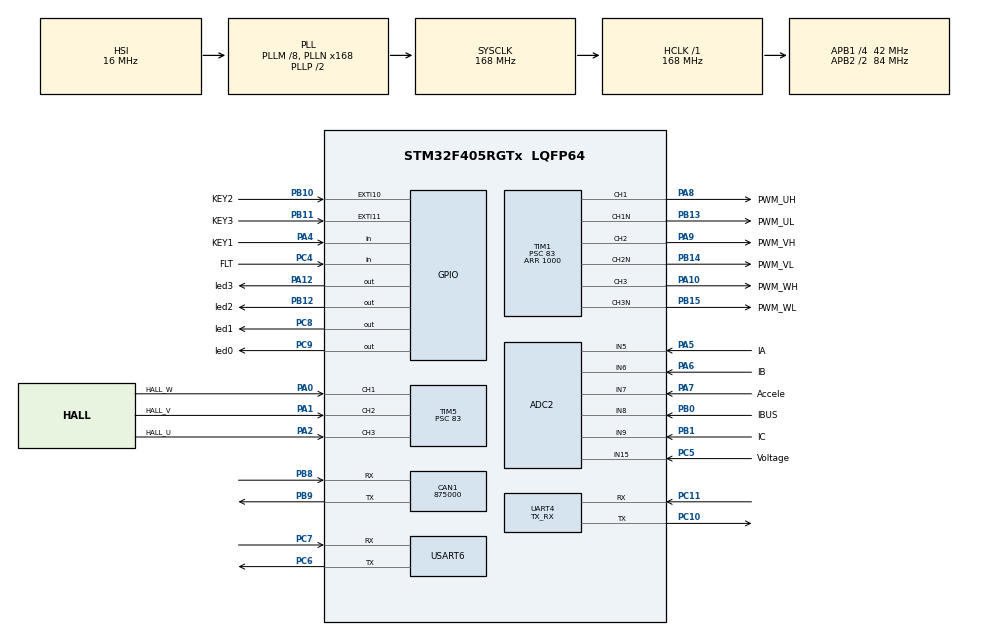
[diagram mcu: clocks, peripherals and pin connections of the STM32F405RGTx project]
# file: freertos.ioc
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ADC2.Channel-0\#ChannelRegularConversion=ADC_CHANNEL_7
ADC2.Channel-1\#ChannelRegularConversion=ADC_CHANNEL_15
ADC2.Channel-2\#ChannelRegularConversion=ADC_CHANNEL_5
ADC2.Channel-3\#ChannelRegularConversion=ADC_CHANNEL_6
ADC2.Channel-4\#ChannelRegularConversion=ADC_CHANNEL_9
ADC2.Channel-5\#ChannelRegularConversion=ADC_CHANNEL_8
ADC2.ContinuousConvMode=ENABLE
ADC2.DMAContinuousRequests=ENABLE
ADC2.EOCSelection=ADC_EOC_SEQ_CONV
ADC2.NbrOfConversion=6
ADC2.NbrOfConversionFlag=1
ADC2.Rank-0\#ChannelRegularConversion=1
ADC2.Rank-1\#ChannelRegularConversion=2
ADC2.Rank-2\#ChannelRegularConversion=3
ADC2.Rank-3\#ChannelRegularConversion=4
ADC2.Rank-4\#ChannelRegularConversion=5
ADC2.Rank-5\#ChannelRegularConversion=6
ADC2.SamplingTime-0\#ChannelRegularConversion=ADC_SAMPLETIME_15CYCLES
ADC2.SamplingTime-1\#ChannelRegularConversion=ADC_SAMPLETIME_15CYCLES
ADC2.SamplingTime-2\#ChannelRegularConversion=ADC_SAMPLETIME_15CYCLES
ADC2.SamplingTime-3\#ChannelRegularConversion=ADC_SAMPLETIME_15CYCLES
ADC2.SamplingTime-4\#ChannelRegularConversion=ADC_SAMPLETIME_15CYCLES
ADC2.SamplingTime-5\#ChannelRegularConversion=ADC_SAMPLETIME_15CYCLES
ADC2.ScanConvMode=ENABLE
CAN1.CalculateBaudRate=875000
CAN1.CalculateTimeBit=1142
CAN1.CalculateTimeQuantum=380.95238095238096
Dma.ADC2.1.Direction=DMA_PERIPH_TO_MEMORY
Dma.ADC2.1.FIFOMode=DMA_FIFOMODE_DISABLE
Dma.ADC2.1.Instance=DMA2_Stream2
Dma.ADC2.1.MemDataAlignment=DMA_MDATAALIGN_HALFWORD
Dma.ADC2.1.MemInc=DMA_MINC_ENABLE
Dma.ADC2.1.Mode=DMA_CIRCULAR
Dma.ADC2.1.PeriphDataAlignment=DMA_PDATAALIGN_HALFWORD
Dma.ADC2.1.PeriphInc=DMA_PINC_DISABLE
Dma.ADC2.1.Priority=DMA_PRIORITY_LOW
Dma.Request0=UART4_RX
Dma.Request1=ADC2
Dma.UART4_RX.0.Direction=DMA_PERIPH_TO_MEMORY
Dma.UART4_RX.0.FIFOMode=DMA_FIFOMODE_DISABLE
Dma.UART4_RX.0.Instance=DMA1_Stream2
Dma.UART4_RX.0.MemDataAlignment=DMA_MDATAALIGN_BYTE
Dma.UART4_RX.0.MemInc=DMA_MINC_ENABLE
Dma.UART4_RX.0.Mode=DMA_NORMAL
Dma.UART4_RX.0.PeriphDataAlignment=DMA_PDATAALIGN_BYTE
Dma.UART4_RX.0.PeriphInc=DMA_PINC_DISABLE
Dma.UART4_RX.0.Priority=DMA_PRIORITY_LOW
FREERTOS.BinarySemaphores01=UartDMABinarySem01,Dynamic,NULL
FREERTOS.MEMORY_ALLOCATION=2
FREERTOS.Queues01=TestQueue,4,uint32_t,0,Dynamic,NULL,NULL
FREERTOS.Tasks01=defaultTask,0,1280,StartDefaultTask,Default,NULL,Dynamic,NULL,NULL;myled0,0,128,myled0_task,Default,NULL,Dynamic,NULL,NULL;myled1,0,128,myled1_task,Default,NULL,Dynamic,NULL,NULL;myTask04,0,128,StartTask04,Default,NULL,Dynamic,NULL,NULL
FREERTOS.configENABLE_FPU=1
FREERTOS.configGENERATE_RUN_TIME_STATS=1
FREERTOS.configMAX_PRIORITIES=20
FREERTOS.configMAX_TASK_NAME_LEN=31
FREERTOS.configMINIMAL_STACK_SIZE=128
FREERTOS.configRECORD_STACK_HIGH_ADDRESS=1
FREERTOS.configTOTAL_HEAP_SIZE=10240
FREERTOS.configUSE_NEWLIB_REENTRANT=1
FREERTOS.configUSE_TIMERS=1
FREERTOS.configUSE_TRACE_FACILITY=1
Mcu.Family=STM32F4
Mcu.Name=STM32F405RGTx
Mcu.Package=LQFP64
NVIC.ADC_IRQn=true\:5\:0\:true\:false\:true\:true\:true\:true\:true
NVIC.DMA1_Stream2_IRQn=true\:5\:0\:false\:false\:true\:true\:false\:true\:true
NVIC.DMA2_Stream2_IRQn=true\:5\:0\:false\:false\:true\:true\:false\:true\:true
NVIC.EXTI15_10_IRQn=true\:5\:0\:true\:false\:true\:false\:true\:true\:true
NVIC.PriorityGroup=NVIC_PRIORITYGROUP_4
NVIC.TIM2_IRQn=true\:15\:0\:true\:false\:true\:false\:false\:true\:true
NVIC.TIM5_IRQn=true\:6\:0\:true\:false\:true\:false\:true\:true\:true
NVIC.TimeBase=TIM2_IRQn
NVIC.TimeBaseIP=TIM2
NVIC.UART4_IRQn=true\:5\:0\:false\:false\:true\:true\:true\:true\:true
NVIC.USART6_IRQn=true\:5\:0\:false\:false\:true\:true\:true\:true\:true
PA0-WKUP.GPIO_Label=HALL_W
PA0-WKUP.Signal=S_TIM5_CH1
PA1.GPIO_Label=HALL_V
PA1.Signal=S_TIM5_CH2
PA10.GPIO_Label=PWM_WH
PA10.Signal=S_TIM1_CH3
PA12.GPIO_Label=led3
PA12.Signal=GPIO_Output
PA13.Mode=Serial_Wire
PA13.Signal=SYS_JTMS-SWDIO
PA14.Mode=Serial_Wire
PA14.Signal=SYS_JTCK-SWCLK
PA2.GPIO_Label=HALL_U
PA2.Signal=S_TIM5_CH3
PA4.GPIO_Label=KEY1
PA4.Signal=GPIO_Input
PA5.GPIO_Label=IA
PA5.Signal=ADCx_IN5
PA6.GPIO_Label=IB
PA6.Signal=ADCx_IN6
PA7.GPIO_Label=Accele
PA7.Signal=ADCx_IN7
PA8.GPIO_Label=PWM_UH
PA8.Signal=S_TIM1_CH1
PA9.GPIO_Label=PWM_VH
PA9.Signal=S_TIM1_CH2
PB0.GPIO_Label=IBUS
PB0.Signal=ADCx_IN8
PB1.GPIO_Label=IC
PB1.Signal=ADCx_IN9
PB10.GPIO_Label=KEY2
PB10.GPIO_ModeDefaultEXTI=GPIO_MODE_IT_FALLING
PB10.GPIO_PuPd=GPIO_PULLUP
PB10.Signal=GPXTI10
PB11.GPIO_Label=KEY3
PB11.GPIO_ModeDefaultEXTI=GPIO_MODE_IT_FALLING
PB11.GPIO_PuPd=GPIO_PULLUP
PB11.Signal=GPXTI11
PB12.GPIO_Label=led2
PB12.Signal=GPIO_Output
PB13.GPIO_Label=PWM_UL
PB13.Mode=PWM Generation1 CH1 CH1N
PB13.Signal=TIM1_CH1N
PB14.GPIO_Label=PWM_VL
PB14.Mode=PWM Generation2 CH2 CH2N
PB14.Signal=TIM1_CH2N
PB15.GPIO_Label=PWM_WL
PB15.Mode=PWM Generation3 CH3 CH3N
PB15.Signal=TIM1_CH3N
PB8.Mode=CAN_Activate
PB8.Signal=CAN1_RX
PB9.Mode=CAN_Activate
PB9.Signal=CAN1_TX
PC10.Mode=Asynchronous
PC10.Signal=UART4_TX
PC11.Mode=Asynchronous
PC11.Signal=UART4_RX
PC14-OSC32_IN.Mode=LSE-External-Oscillator
PC14-OSC32_IN.Signal=RCC_OSC32_IN
PC15-OSC32_OUT.Mode=LSE-External-Oscillator
PC15-OSC32_OUT.Signal=RCC_OSC32_OUT
PC4.GPIO_Label=FLT
PC4.Signal=GPIO_Input
PC5.GPIO_Label=Voltage
PC5.Signal=ADCx_IN15
PC6.Mode=Asynchronous
PC6.Signal=USART6_TX
PC7.Mode=Asynchronous
PC7.Signal=USART6_RX
PC8.GPIO_Label=led1
PC8.Signal=GPIO_Output
PC9.GPIO_Label=led0
PC9.Signal=GPIO_Output
PH0-OSC_IN.Mode=HSE-External-Oscillator
PH0-OSC_IN.Signal=RCC_OSC_IN
PH1-OSC_OUT.Mode=HSE-External-Oscillator
PH1-OSC_OUT.Signal=RCC_OSC_OUT
ProjectManager.HeapSize=0x200
ProjectManager.StackSize=0x400
ProjectManager.TargetToolchain=STM32CubeIDE
RCC.48MHZClocksFreq_Value=84000000
RCC.AHBFreq_Value=168000000
RCC.APB1CLKDivider=RCC_HCLK_DIV4
RCC.APB1Freq_Value=42000000
RCC.APB1TimFreq_Value=84000000
RCC.APB2CLKDivider=RCC_HCLK_DIV2
RCC.APB2Freq_Value=84000000
RCC.APB2TimFreq_Value=168000000
RCC.CortexFreq_Value=168000000
RCC.HCLKFreq_Value=168000000
RCC.HSE_VALUE=8000000
RCC.HSI_VALUE=16000000
RCC.PLLM=8
RCC.PLLN=168
RCC.SYSCLKFreq_VALUE=168000000
RCC.SYSCLKSource=RCC_SYSCLKSOURCE_PLLCLK
RCC.VCOOutputFreq_Value=336000000
SH.ADCx_IN15.0=ADC2_IN15,IN15
SH.ADCx_IN5.0=ADC2_IN5,IN5
SH.ADCx_IN6.0=ADC2_IN6,IN6
SH.ADCx_IN7.0=ADC2_IN7,IN7
SH.ADCx_IN8.0=ADC2_IN8,IN8
SH.ADCx_IN9.0=ADC2_IN9,IN9
SH.S_TIM1_CH1.0=TIM1_CH1,PWM Generation1 CH1 CH1N
SH.S_TIM1_CH2.0=TIM1_CH2,PWM Generation2 CH2 CH2N
SH.S_TIM1_CH3.0=TIM1_CH3,PWM Generation3 CH3 CH3N
SH.S_TIM5_CH1.0=TIM5_CH1,Xored_Inputs_Hall_Sensor_Interface
SH.S_TIM5_CH2.0=TIM5_CH2,Xored_Inputs_Hall_Sensor_Interface
SH.S_TIM5_CH3.0=TIM5_CH3,Xored_Inputs_Hall_Sensor_Interface
TIM1.AutoReloadPreload=TIM_AUTORELOAD_PRELOAD_ENABLE
TIM1.AutomaticOutput=TIM_AUTOMATICOUTPUT_ENABLE
TIM1.BreakPolarity=TIM_BREAKPOLARITY_HIGH
TIM1.BreakState=TIM_BREAK_ENABLE
TIM1.Channel-PWM\ Generation1\ CH1\ CH1N=TIM_CHANNEL_1
TIM1.Channel-PWM\ Generation2\ CH2\ CH2N=TIM_CHANNEL_2
TIM1.Channel-PWM\ Generation3\ CH3\ CH3N=TIM_CHANNEL_3
TIM1.CounterMode=TIM_COUNTERMODE_UP
TIM1.DeadTime=150
TIM1.LockLevel=TIM_LOCKLEVEL_OFF
TIM1.OCFastMode_PWM-PWM\ Generation1\ CH1\ CH1N=TIM_OCFAST_ENABLE
TIM1.OCFastMode_PWM-PWM\ Generation2\ CH2\ CH2N=TIM_OCFAST_ENABLE
TIM1.OCFastMode_PWM-PWM\ Generation3\ CH3\ CH3N=TIM_OCFAST_ENABLE
TIM1.OCIdleState_1=TIM_OCIDLESTATE_RESET
TIM1.OffStateIDLEMode=TIM_OSSI_DISABLE
TIM1.OffStateRunMode=TIM_OSSR_DISABLE
TIM1.Period=1000
TIM1.Prescaler=83
TIM1.Pulse-PWM\ Generation1\ CH1\ CH1N=800
TIM1.Pulse-PWM\ Generation2\ CH2\ CH2N=800
TIM1.Pulse-PWM\ Generation3\ CH3\ CH3N=800
TIM5.AutoReloadPreload=TIM_AUTORELOAD_PRELOAD_ENABLE
TIM5.Prescaler=83
UART4.Mode=MODE_TX_RX
UART4.VirtualMode=Asynchronous
USART6.VirtualMode=VM_ASYNC
VP_FREERTOS_VS_CMSIS_V1.Mode=CMSIS_V1
VP_SYS_VS_tim2.Mode=TIM2
VP_TIM1_VS_ClockSourceINT.Mode=Internal
VP_TIM5_VS_ClockSourceINT.Mode=Internal
board=custom

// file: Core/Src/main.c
/* USER CODE BEGIN Header */
/**
  ******************************************************************************
  * @file           : main.c
  * @brief          : Main program body
  ******************************************************************************
  * @attention
  *
  * Copyright (c) 2022 STMicroelectronics.
  * All rights reserved.
  *
  * This software is licensed under terms that can be found in the LICENSE file
  * in the root directory of this software component.
  * If no LICENSE file comes with this software, it is provided AS-IS.
  *
  ******************************************************************************
  */
/* USER CODE END Header */
#include "main.h"
#include "cmsis_os.h"
#include "adc.h"
#include "can.h"
#include "dma.h"
#include "tim.h"
#include "usart.h"
#include "gpio.h"

/* USER CODE BEGIN PV */
extern osMessageQId TestQueueHandle;
extern __IO uint16_t ADC_ConvertedValue[6];

/* USER CODE END PV */

void SystemClock_Config(void);
void MX_FREERTOS_Init(void);

int main(void)
{

  /* MCU Configuration--------------------------------------------------------*/

  /* Reset of all peripherals, Initializes the Flash interface and the Systick. */
  HAL_Init();

  /* Configure the system clock */
  SystemClock_Config();

  /* Initialize all configured peripherals */
  MX_GPIO_Init();
  MX_DMA_Init();
  MX_CAN1_Init();
  MX_TIM5_Init();
  MX_UART4_Init();
  MX_ADC2_Init();
  MX_TIM1_Init();
  MX_USART6_UART_Init();
  /* USER CODE BEGIN 2 */
  printf("FreeRtos测试例程\r\n");
  HAL_ADC_Start_DMA(&hadc2,(uint32_t *)ADC_ConvertedValue,6);
  HAL_TIMEx_HallSensor_Start_IT(&htim5);
//  HAL_TIM_PWM_Start(&htim1,TIM_CHANNEL_1);
//  HAL_TIMEx_PWMN_Start(&htim1,TIM_CHANNEL_1);
//  HAL_TIM_PWM_Start(&htim1,TIM_CHANNEL_2);
//  HAL_TIMEx_PWMN_Start(&htim1,TIM_CHANNEL_2);
//  HAL_TIM_PWM_Start(&htim1,TIM_CHANNEL_3);
//  HAL_TIMEx_PWMN_Start(&htim1,TIM_CHANNEL_3);
  /* USER CODE END 2 */

  /* Call init function for freertos objects (in freertos.c) */
  MX_FREERTOS_Init();

  /* Start scheduler */
  osKernelStart();

  /* We should never get here as control is now taken by the scheduler */
  /* Infinite loop */
  while (1)
  {

  }
}

void SystemClock_Config(void)
{
  RCC_OscInitTypeDef RCC_OscInitStruct = {0};
  RCC_ClkInitTypeDef RCC_ClkInitStruct = {0};

  /** Configure the main internal regulator output voltage
  */
  __HAL_RCC_PWR_CLK_ENABLE();
  __HAL_PWR_VOLTAGESCALING_CONFIG(PWR_REGULATOR_VOLTAGE_SCALE1);

  /** Initializes the RCC Oscillators according to the specified parameters
  * in the RCC_OscInitTypeDef structure.
  */
  RCC_OscInitStruct.OscillatorType = RCC_OSCILLATORTYPE_HSI;
  RCC_OscInitStruct.HSIState = RCC_HSI_ON;
  RCC_OscInitStruct.HSICalibrationValue = RCC_HSICALIBRATION_DEFAULT;
  RCC_OscInitStruct.PLL.PLLState = RCC_PLL_ON;
  RCC_OscInitStruct.PLL.PLLSource = RCC_PLLSOURCE_HSI;
  RCC_OscInitStruct.PLL.PLLM = 8;
  RCC_OscInitStruct.PLL.PLLN = 168;
  RCC_OscInitStruct.PLL.PLLP = RCC_PLLP_DIV2;
  RCC_OscInitStruct.PLL.PLLQ = 4;
  if (HAL_RCC_OscConfig(&RCC_OscInitStruct) != HAL_OK)
  {
    Error_Handler();
  }

  /** Initializes the CPU, AHB and APB buses clocks
  */
  RCC_ClkInitStruct.ClockType = RCC_CLOCKTYPE_HCLK|RCC_CLOCKTYPE_SYSCLK
                              |RCC_CLOCKTYPE_PCLK1|RCC_CLOCKTYPE_PCLK2;
  RCC_ClkInitStruct.SYSCLKSource = RCC_SYSCLKSOURCE_PLLCLK;
  RCC_ClkInitStruct.AHBCLKDivider = RCC_SYSCLK_DIV1;
  RCC_ClkInitStruct.APB1CLKDivider = RCC_HCLK_DIV4;
  RCC_ClkInitStruct.APB2CLKDivider = RCC_HCLK_DIV2;

  if (HAL_RCC_ClockConfig(&RCC_ClkInitStruct, FLASH_LATENCY_5) != HAL_OK)
  {
    Error_Handler();
  }
}

void HAL_TIM_PeriodElapsedCallback(TIM_HandleTypeDef *htim)
{
  if (htim->Instance == TIM2) {
    HAL_IncTick();
  }
}

void Error_Handler(void)
{
  /* USER CODE BEGIN Error_Handler_Debug */
  /* User can add his own implementation to report the HAL error return state */
  __disable_irq();
  while (1)
  {
      printf("中断问题");
  }
  /* USER CODE END Error_Handler_Debug */
}

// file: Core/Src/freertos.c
/* USER CODE BEGIN Header */
/**
  ******************************************************************************
  * File Name          : freertos.c
  * Description        : Code for freertos applications
  ******************************************************************************
  * @attention
  *
  * Copyright (c) 2022 STMicroelectronics.
  * All rights reserved.
  *
  * This software is licensed under terms that can be found in the LICENSE file
  * in the root directory of this software component.
  * If no LICENSE file comes with this software, it is provided AS-IS.
  *
  ******************************************************************************
  */
/* USER CODE END Header */

#include "FreeRTOS.h"
#include "task.h"
#include "main.h"
#include "cmsis_os.h"

/* USER CODE BEGIN Includes */
#include "usart.h"
#include "adc.h"
/* USER CODE END Includes */

/* USER CODE BEGIN Variables */
u_char Uart_Rx[10] = {0};                        //串口指令接受
__IO uint16_t ADC_ConvertedValue[6]={0};         //ADC采样结果
float ADC_ConvertedValueLocal[6]={0};

float ADC_ACCele = 0.0;
float ADC_Voltage = 0.0;
float ADC_IA = 0.0;
float ADC_IB = 0.0;
float ADC_IC = 0.0;
float ADC_IBUS = 0.0;
/* USER CODE END Variables */
osThreadId defaultTaskHandle;
osThreadId myled0Handle;
osThreadId myled1Handle;
osThreadId myTask04Handle;
osMessageQId TestQueueHandle;
osSemaphoreId UartDMABinarySem01Handle;

void StartDefaultTask(void const * argument);
void myled0_task(void const * argument);
void myled1_task(void const * argument);
void StartTask04(void const * argument);

void MX_FREERTOS_Init(void); /* (MISRA C 2004 rule 8.1) */

/* GetIdleTaskMemory prototype (linked to static allocation support) */
void vApplicationGetIdleTaskMemory( StaticTask_t **ppxIdleTaskTCBBuffer, StackType_t **ppxIdleTaskStackBuffer, uint32_t *pulIdleTaskStackSize );

/* GetTimerTaskMemory prototype (linked to static allocation support) */
void vApplicationGetTimerTaskMemory( StaticTask_t **ppxTimerTaskTCBBuffer, StackType_t **ppxTimerTaskStackBuffer, uint32_t *pulTimerTaskStackSize );

/* Hook prototypes */
void configureTimerForRunTimeStats(void);
unsigned long getRunTimeCounterValue(void);

/* USER CODE BEGIN 1 */
/* Functions needed when configGENERATE_RUN_TIME_STATS is on */
__weak void configureTimerForRunTimeStats(void)
{

}

__weak unsigned long getRunTimeCounterValue(void)
{
return 0;
}
/* USER CODE END 1 */

/* USER CODE BEGIN GET_IDLE_TASK_MEMORY */
static StaticTask_t xIdleTaskTCBBuffer;
static StackType_t xIdleStack[configMINIMAL_STACK_SIZE];

void vApplicationGetIdleTaskMemory( StaticTask_t **ppxIdleTaskTCBBuffer, StackType_t **ppxIdleTaskStackBuffer, uint32_t *pulIdleTaskStackSize )
{
  *ppxIdleTaskTCBBuffer = &xIdleTaskTCBBuffer;
  *ppxIdleTaskStackBuffer = &xIdleStack[0];
  *pulIdleTaskStackSize = configMINIMAL_STACK_SIZE;
  /* place for user code */
}
/* USER CODE END GET_IDLE_TASK_MEMORY */

/* USER CODE BEGIN GET_TIMER_TASK_MEMORY */
static StaticTask_t xTimerTaskTCBBuffer;
static StackType_t xTimerStack[configTIMER_TASK_STACK_DEPTH];

void vApplicationGetTimerTaskMemory( StaticTask_t **ppxTimerTaskTCBBuffer, StackType_t **ppxTimerTaskStackBuffer, uint32_t *pulTimerTaskStackSize )
{
  *ppxTimerTaskTCBBuffer = &xTimerTaskTCBBuffer;
  *ppxTimerTaskStackBuffer = &xTimerStack[0];
  *pulTimerTaskStackSize = configTIMER_TASK_STACK_DEPTH;
  /* place for user code */
}
/* USER CODE END GET_TIMER_TASK_MEMORY */

void MX_FREERTOS_Init(void) {

  /* Create the semaphores(s) */
  /* definition and creation of UartDMABinarySem01 */
  osSemaphoreDef(UartDMABinarySem01);
  UartDMABinarySem01Handle = osSemaphoreCreate(osSemaphore(UartDMABinarySem01), 1);

  /* Create the queue(s) */
  /* definition and creation of TestQueue */
  osMessageQDef(TestQueue, 4, uint32_t);
  TestQueueHandle = osMessageCreate(osMessageQ(TestQueue), NULL);

  /* Create the thread(s) */
  /* definition and creation of defaultTask */
  osThreadDef(defaultTask, StartDefaultTask, osPriorityNormal, 0, 1280);
  defaultTaskHandle = osThreadCreate(osThread(defaultTask), NULL);

  /* definition and creation of myled0 */
  osThreadDef(myled0, myled0_task, osPriorityNormal, 0, 128);
  myled0Handle = osThreadCreate(osThread(myled0), NULL);

  /* definition and creation of myled1 */
  osThreadDef(myled1, myled1_task, osPriorityNormal, 0, 128);
  myled1Handle = osThreadCreate(osThread(myled1), NULL);

  /* definition and creation of myTask04 */
  osThreadDef(myTask04, StartTask04, osPriorityNormal, 0, 128);
  myTask04Handle = osThreadCreate(osThread(myTask04), NULL);

}

void StartDefaultTask(void const * argument)
{
  /* USER CODE BEGIN StartDefaultTask */
//    float ADC_ACCele = 0.1;
//    float ADC_Voltage = 0.1;

  /* Infinite loop */
  for(;;)
  {
      ADC_ACCele =(float)ADC_ConvertedValue[0]/4096*3.3;//读取旋转电位器电压值
      ADC_Voltage = (float)ADC_ConvertedValue[1]/4096*3.3*16;//读取电源电压值          打印任务不要放在此任务中，和串口冲突
      printf("当前电位器电压: %0.2f V \r\n",ADC_ACCele);
      printf("当前电源电压: %0.2f V \r\n",ADC_Voltage);
      osDelay(1000);
  }
  /* USER CODE END StartDefaultTask */
}

void myled0_task(void const * argument)
{
  /* USER CODE BEGIN myled0_task */
    BaseType_t xReturn = pdPASS;
    uint32_t r_queue;
  /* Infinite loop */
  for(;;)
  {
      HAL_GPIO_WritePin(led0_GPIO_Port,led0_Pin,GPIO_PIN_SET);
      vTaskDelay(100);
      HAL_GPIO_WritePin(led0_GPIO_Port,led0_Pin,GPIO_PIN_RESET);
      vTaskDelay(100);
      xReturn = xQueueReceive( TestQueueHandle,                //消息队列具有超时机制，当队列中没有数据时，会把任务挂起来，一有数据就会开始执行
                               &r_queue,                      //使用消息队列可以有效的解决中断服务程序和任务之间的消息传递的问题
                               0);
      if(pdTRUE == xReturn)
      {
          printf("本次消息队列中的数据为：%d\r\n",r_queue);
      }
      else if(pdTRUE == errQUEUE_FULL)
      {
          printf("数据接收出错，错误代码0x%lx\n",xReturn);
      }
  }
  /* USER CODE END myled0_task */
}

void myled1_task(void const * argument)
{
  /* USER CODE BEGIN myled1_task */
    BaseType_t xReturn = pdPASS;  //定义一个创建信息返回值
    __HAL_UART_ENABLE_IT(&huart4, UART_IT_IDLE);
    HAL_UART_Receive_DMA(&huart4,(uint8_t*)Uart_Rx,10);
  /* Infinite loop */
  for(;;)
  {
      xReturn = xSemaphoreTake(UartDMABinarySem01Handle,portMAX_DELAY);
      if(pdPASS == xReturn)
      {
          printf("进行串口DMA接受\r\n");
          printf("收到的数据为:%s\r\n",Uart_Rx);
          memset(Uart_Rx,0, sizeof(Uart_Rx));//清零操作
         // HAL_UART_Receive_DMA(&huart4,(uint8_t*)Uart_Rx,10);
      }
  }
  /* USER CODE END myled1_task */
}

void StartTask04(void const * argument)
{
  for(;;)
  {
      osDelay(1);
  }
}
